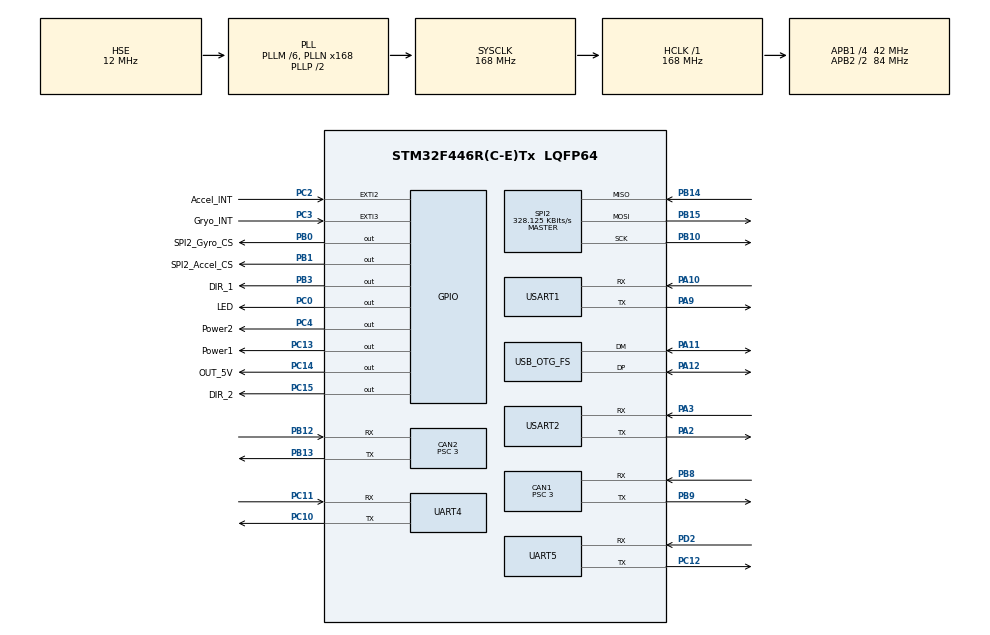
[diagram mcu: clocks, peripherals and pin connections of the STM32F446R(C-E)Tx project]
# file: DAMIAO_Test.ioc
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CAN1.BS1=CAN_BS1_10TQ
CAN1.BS2=CAN_BS2_3TQ
CAN1.CalculateBaudRate=1000000
CAN1.CalculateTimeBit=1000
CAN1.CalculateTimeQuantum=71.42857142857143
CAN1.Prescaler=3
CAN2.BS1=CAN_BS1_10TQ
CAN2.BS2=CAN_BS2_3TQ
CAN2.CalculateBaudRate=1000000
CAN2.CalculateTimeBit=1000
CAN2.CalculateTimeQuantum=71.42857142857143
CAN2.Prescaler=3
Dma.Request0=USART1_RX
Dma.Request1=USART1_TX
Dma.Request2=UART4_RX
Dma.Request3=UART4_TX
Dma.Request4=USART2_RX
Dma.Request5=USART2_TX
Dma.Request6=UART5_RX
Dma.Request7=UART5_TX
Dma.Request8=SPI2_RX
Dma.SPI2_RX.8.Direction=DMA_PERIPH_TO_MEMORY
Dma.SPI2_RX.8.FIFOMode=DMA_FIFOMODE_DISABLE
Dma.SPI2_RX.8.Instance=DMA1_Stream3
Dma.SPI2_RX.8.MemDataAlignment=DMA_MDATAALIGN_BYTE
Dma.SPI2_RX.8.MemInc=DMA_MINC_ENABLE
Dma.SPI2_RX.8.Mode=DMA_NORMAL
Dma.SPI2_RX.8.PeriphDataAlignment=DMA_PDATAALIGN_BYTE
Dma.SPI2_RX.8.PeriphInc=DMA_PINC_DISABLE
Dma.SPI2_RX.8.Priority=DMA_PRIORITY_LOW
Dma.UART4_RX.2.Direction=DMA_PERIPH_TO_MEMORY
Dma.UART4_RX.2.FIFOMode=DMA_FIFOMODE_DISABLE
Dma.UART4_RX.2.Instance=DMA1_Stream2
Dma.UART4_RX.2.MemDataAlignment=DMA_MDATAALIGN_BYTE
Dma.UART4_RX.2.MemInc=DMA_MINC_ENABLE
Dma.UART4_RX.2.Mode=DMA_CIRCULAR
Dma.UART4_RX.2.PeriphDataAlignment=DMA_PDATAALIGN_BYTE
Dma.UART4_RX.2.PeriphInc=DMA_PINC_DISABLE
Dma.UART4_RX.2.Priority=DMA_PRIORITY_LOW
Dma.UART4_TX.3.Direction=DMA_MEMORY_TO_PERIPH
Dma.UART4_TX.3.FIFOMode=DMA_FIFOMODE_DISABLE
Dma.UART4_TX.3.Instance=DMA1_Stream4
Dma.UART4_TX.3.MemDataAlignment=DMA_MDATAALIGN_BYTE
Dma.UART4_TX.3.MemInc=DMA_MINC_ENABLE
Dma.UART4_TX.3.Mode=DMA_CIRCULAR
Dma.UART4_TX.3.PeriphDataAlignment=DMA_PDATAALIGN_BYTE
Dma.UART4_TX.3.PeriphInc=DMA_PINC_DISABLE
Dma.UART4_TX.3.Priority=DMA_PRIORITY_LOW
Dma.UART5_RX.6.Direction=DMA_PERIPH_TO_MEMORY
Dma.UART5_RX.6.FIFOMode=DMA_FIFOMODE_DISABLE
Dma.UART5_RX.6.Instance=DMA1_Stream0
Dma.UART5_RX.6.MemDataAlignment=DMA_MDATAALIGN_BYTE
Dma.UART5_RX.6.MemInc=DMA_MINC_ENABLE
Dma.UART5_RX.6.Mode=DMA_CIRCULAR
Dma.UART5_RX.6.PeriphDataAlignment=DMA_PDATAALIGN_BYTE
Dma.UART5_RX.6.PeriphInc=DMA_PINC_DISABLE
Dma.UART5_RX.6.Priority=DMA_PRIORITY_LOW
Dma.UART5_TX.7.Direction=DMA_MEMORY_TO_PERIPH
Dma.UART5_TX.7.FIFOMode=DMA_FIFOMODE_DISABLE
Dma.UART5_TX.7.Instance=DMA1_Stream7
Dma.UART5_TX.7.MemDataAlignment=DMA_MDATAALIGN_BYTE
Dma.UART5_TX.7.MemInc=DMA_MINC_ENABLE
Dma.UART5_TX.7.Mode=DMA_CIRCULAR
Dma.UART5_TX.7.PeriphDataAlignment=DMA_PDATAALIGN_BYTE
Dma.UART5_TX.7.PeriphInc=DMA_PINC_DISABLE
Dma.UART5_TX.7.Priority=DMA_PRIORITY_LOW
Dma.USART1_RX.0.Direction=DMA_PERIPH_TO_MEMORY
Dma.USART1_RX.0.FIFOMode=DMA_FIFOMODE_DISABLE
Dma.USART1_RX.0.Instance=DMA2_Stream5
Dma.USART1_RX.0.MemDataAlignment=DMA_MDATAALIGN_BYTE
Dma.USART1_RX.0.MemInc=DMA_MINC_ENABLE
Dma.USART1_RX.0.Mode=DMA_NORMAL
Dma.USART1_RX.0.PeriphDataAlignment=DMA_PDATAALIGN_BYTE
Dma.USART1_RX.0.PeriphInc=DMA_PINC_DISABLE
Dma.USART1_RX.0.Priority=DMA_PRIORITY_LOW
Dma.USART1_TX.1.Direction=DMA_MEMORY_TO_PERIPH
Dma.USART1_TX.1.FIFOMode=DMA_FIFOMODE_DISABLE
Dma.USART1_TX.1.Instance=DMA2_Stream7
Dma.USART1_TX.1.MemDataAlignment=DMA_MDATAALIGN_BYTE
Dma.USART1_TX.1.MemInc=DMA_MINC_ENABLE
Dma.USART1_TX.1.Mode=DMA_NORMAL
Dma.USART1_TX.1.PeriphDataAlignment=DMA_PDATAALIGN_BYTE
Dma.USART1_TX.1.PeriphInc=DMA_PINC_DISABLE
Dma.USART1_TX.1.Priority=DMA_PRIORITY_LOW
Dma.USART2_RX.4.Direction=DMA_PERIPH_TO_MEMORY
Dma.USART2_RX.4.FIFOMode=DMA_FIFOMODE_DISABLE
Dma.USART2_RX.4.Instance=DMA1_Stream5
Dma.USART2_RX.4.MemDataAlignment=DMA_MDATAALIGN_BYTE
Dma.USART2_RX.4.MemInc=DMA_MINC_ENABLE
Dma.USART2_RX.4.Mode=DMA_CIRCULAR
Dma.USART2_RX.4.PeriphDataAlignment=DMA_PDATAALIGN_BYTE
Dma.USART2_RX.4.PeriphInc=DMA_PINC_DISABLE
Dma.USART2_RX.4.Priority=DMA_PRIORITY_LOW
Dma.USART2_TX.5.Direction=DMA_MEMORY_TO_PERIPH
Dma.USART2_TX.5.FIFOMode=DMA_FIFOMODE_DISABLE
Dma.USART2_TX.5.Instance=DMA1_Stream6
Dma.USART2_TX.5.MemDataAlignment=DMA_MDATAALIGN_BYTE
Dma.USART2_TX.5.MemInc=DMA_MINC_ENABLE
Dma.USART2_TX.5.Mode=DMA_CIRCULAR
Dma.USART2_TX.5.PeriphDataAlignment=DMA_PDATAALIGN_BYTE
Dma.USART2_TX.5.PeriphInc=DMA_PINC_DISABLE
Dma.USART2_TX.5.Priority=DMA_PRIORITY_LOW
FREERTOS.Tasks01=defaultTask,0,128,StartDefaultTask,Default,NULL,Dynamic,NULL,NULL
Mcu.Family=STM32F4
Mcu.Name=STM32F446R(C-E)Tx
Mcu.Package=LQFP64
NVIC.CAN1_RX0_IRQn=true\:5\:0\:false\:false\:true\:true\:true\:true\:true
NVIC.CAN1_RX1_IRQn=true\:5\:0\:false\:false\:true\:true\:true\:true\:true
NVIC.CAN1_TX_IRQn=true\:5\:0\:false\:false\:true\:true\:true\:true\:true
NVIC.CAN2_RX0_IRQn=true\:5\:0\:false\:false\:true\:true\:true\:true\:true
NVIC.CAN2_RX1_IRQn=true\:5\:0\:false\:false\:true\:true\:true\:true\:true
NVIC.CAN2_TX_IRQn=true\:5\:0\:false\:false\:true\:true\:true\:true\:true
NVIC.DMA1_Stream0_IRQn=true\:5\:0\:false\:false\:true\:true\:false\:true\:true
NVIC.DMA1_Stream2_IRQn=true\:5\:0\:false\:false\:true\:true\:false\:true\:true
NVIC.DMA1_Stream3_IRQn=true\:5\:0\:false\:false\:true\:true\:false\:true\:true
NVIC.DMA1_Stream4_IRQn=true\:5\:0\:false\:false\:true\:true\:false\:true\:true
NVIC.DMA1_Stream5_IRQn=true\:5\:0\:false\:false\:true\:true\:false\:true\:true
NVIC.DMA1_Stream6_IRQn=true\:5\:0\:false\:false\:true\:true\:false\:true\:true
NVIC.DMA1_Stream7_IRQn=true\:5\:0\:false\:false\:true\:true\:false\:true\:true
NVIC.DMA2_Stream5_IRQn=true\:5\:0\:false\:false\:true\:false\:false\:true\:true
NVIC.DMA2_Stream7_IRQn=true\:5\:0\:false\:false\:true\:true\:false\:true\:true
NVIC.OTG_FS_IRQn=true\:5\:0\:false\:false\:true\:true\:true\:true\:true
NVIC.PriorityGroup=NVIC_PRIORITYGROUP_4
NVIC.UART4_IRQn=true\:5\:0\:false\:false\:true\:true\:true\:true\:true
NVIC.UART5_IRQn=true\:5\:0\:false\:false\:true\:true\:true\:true\:true
NVIC.USART1_IRQn=true\:5\:0\:false\:false\:true\:true\:true\:true\:true
NVIC.USART2_IRQn=true\:5\:0\:false\:false\:true\:true\:true\:true\:true
PA10.Mode=Asynchronous
PA10.Signal=USART1_RX
PA11.Mode=Device_Only
PA11.Signal=USB_OTG_FS_DM
PA12.Mode=Device_Only
PA12.Signal=USB_OTG_FS_DP
PA13.Mode=Serial_Wire
PA13.Signal=SYS_JTMS-SWDIO
PA14.Mode=Serial_Wire
PA14.Signal=SYS_JTCK-SWCLK
PA2.Mode=Asynchronous
PA2.Signal=USART2_TX
PA3.Mode=Asynchronous
PA3.Signal=USART2_RX
PA9.Mode=Asynchronous
PA9.Signal=USART1_TX
PB0.GPIO_Label=SPI2_Gyro_CS
PB0.Signal=GPIO_Output
PB1.GPIO_Label=SPI2_Accel_CS
PB1.Signal=GPIO_Output
PB10.Mode=Full_Duplex_Master
PB10.Signal=SPI2_SCK
PB12.Mode=CAN_Activate
PB12.Signal=CAN2_RX
PB13.Mode=CAN_Activate
PB13.Signal=CAN2_TX
PB14.Mode=Full_Duplex_Master
PB14.Signal=SPI2_MISO
PB15.Mode=Full_Duplex_Master
PB15.Signal=SPI2_MOSI
PB3.GPIO_Label=DIR_1
PB3.GPIO_PuPd=GPIO_PULLUP
PB3.Signal=GPIO_Output
PB8.Mode=CAN_Activate
PB8.Signal=CAN1_RX
PB9.Mode=CAN_Activate
PB9.Signal=CAN1_TX
PC0.GPIO_Label=LED
PC0.GPIO_PuPd=GPIO_PULLUP
PC0.PinState=GPIO_PIN_SET
PC0.Signal=GPIO_Output
PC10.Mode=Asynchronous
PC10.Signal=UART4_TX
PC11.Mode=Asynchronous
PC11.Signal=UART4_RX
PC12.Mode=Asynchronous
PC12.Signal=UART5_TX
PC13.GPIO_Label=Power1
PC13.GPIO_PuPd=GPIO_PULLUP
PC13.PinState=GPIO_PIN_SET
PC13.Signal=GPIO_Output
PC14-OSC32_IN.GPIO_Label=OUT_5V
PC14-OSC32_IN.GPIO_PuPd=GPIO_PULLUP
PC14-OSC32_IN.PinState=GPIO_PIN_SET
PC14-OSC32_IN.Signal=GPIO_Output
PC15-OSC32_OUT.GPIO_Label=DIR_2
PC15-OSC32_OUT.GPIO_PuPd=GPIO_PULLUP
PC15-OSC32_OUT.PinState=GPIO_PIN_RESET
PC15-OSC32_OUT.Signal=GPIO_Output
PC2.GPIO_Label=Accel_INT
PC2.Signal=GPXTI2
PC3.GPIO_Label=Gryo_INT
PC3.GPIO_PuPd=GPIO_PULLUP
PC3.Signal=GPXTI3
PC4.GPIO_Label=Power2
PC4.GPIO_PuPd=GPIO_PULLUP
PC4.PinState=GPIO_PIN_SET
PC4.Signal=GPIO_Output
PD2.Mode=Asynchronous
PD2.Signal=UART5_RX
PH0-OSC_IN.Mode=HSE-External-Oscillator
PH0-OSC_IN.Signal=RCC_OSC_IN
PH1-OSC_OUT.Mode=HSE-External-Oscillator
PH1-OSC_OUT.Signal=RCC_OSC_OUT
ProjectManager.HeapSize=0x2000
ProjectManager.StackSize=0x2000
ProjectManager.TargetToolchain=MDK-ARM V5.32
RCC.AHBFreq_Value=168000000
RCC.APB1CLKDivider=RCC_HCLK_DIV4
RCC.APB1Freq_Value=42000000
RCC.APB1TimFreq_Value=84000000
RCC.APB2CLKDivider=RCC_HCLK_DIV2
RCC.APB2Freq_Value=84000000
RCC.APB2TimFreq_Value=168000000
RCC.CortexFreq_Value=168000000
RCC.HCLKFreq_Value=168000000
RCC.HSE_VALUE=12000000
RCC.PLLM=6
RCC.PLLN=168
RCC.PLLQ=7
RCC.PLLSourceVirtual=RCC_PLLSOURCE_HSE
RCC.SYSCLKFreq_VALUE=168000000
RCC.SYSCLKSource=RCC_SYSCLKSOURCE_PLLCLK
RCC.USBFreq_Value=48000000
RCC.VCOOutputFreq_Value=336000000
SPI2.BaudRatePrescaler=SPI_BAUDRATEPRESCALER_128
SPI2.CLKPhase=SPI_PHASE_2EDGE
SPI2.CLKPolarity=SPI_POLARITY_HIGH
SPI2.CalculateBaudRate=328.125 KBits/s
SPI2.Direction=SPI_DIRECTION_2LINES
SPI2.Mode=SPI_MODE_MASTER
SPI2.VirtualType=VM_MASTER
UART4.VirtualMode=Asynchronous
UART5.VirtualMode=Asynchronous
USART1.VirtualMode=VM_ASYNC
USART2.VirtualMode=VM_ASYNC
USB_DEVICE.CLASS_NAME_FS=CDC
USB_DEVICE.VirtualMode-CDC_FS=Cdc
USB_DEVICE.VirtualModeFS=Cdc_FS
USB_OTG_FS.VirtualMode=Device_Only
VP_FREERTOS_VS_CMSIS_V1.Mode=CMSIS_V1
VP_IWDG_VS_IWDG.Mode=IWDG_Activate
VP_USB_DEVICE_VS_USB_DEVICE_CDC_FS.Mode=CDC_FS
board=custom

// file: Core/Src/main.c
/* USER CODE BEGIN Header */
/**
  ******************************************************************************
  * @file           : main.c
  * @brief          : Main program body
  ******************************************************************************
  * @attention
  *
  * Copyright (c) 2024 STMicroelectronics.
  * All rights reserved.
  *
  * This software is licensed under terms that can be found in the LICENSE file
  * in the root directory of this software component.
  * If no LICENSE file comes with this software, it is provided AS-IS.
  *
  ******************************************************************************
  */
/* USER CODE END Header */
#include "main.h"
#include "cmsis_os.h"
#include "can.h"
#include "dma.h"
#include "spi.h"
#include "usart.h"
#include "usb_device.h"
#include "gpio.h"

/* USER CODE BEGIN Includes */
#include "Can_user.h"
#include "remote_control.h"
#include "bsp_dwt.h"
/* USER CODE END Includes */

void SystemClock_Config(void);
void MX_FREERTOS_Init(void);

/* USER CODE BEGIN 0 */
uint8_t Rx[128];
uint8_t Rx_R[128];
uint8_t Rx_1[128];
uint8_t Rx_2[128];
uint8_t Rx_3[128];
uint8_t Rx_4[128];
/* USER CODE END 0 */

int main(void)
{

  /* MCU Configuration--------------------------------------------------------*/

  /* Reset of all peripherals, Initializes the Flash interface and the Systick. */
  HAL_Init();

  /* Configure the system clock */
  SystemClock_Config();

  /* Initialize all configured peripherals */
  MX_GPIO_Init();
  MX_DMA_Init();
  MX_CAN1_Init();
  MX_CAN2_Init();
  MX_USART1_UART_Init();
  MX_USART2_UART_Init();
  MX_UART4_Init();
  MX_UART5_Init();
  MX_SPI2_Init();
  /* USER CODE BEGIN 2 */
	can_1_user_init(&hcan1);//配置can1的过滤器
	can_2_user_init(&hcan2);//配置can2的过滤器
	remote_control_init(); //遥控器初始化
	VS_init(Rx_1, Rx_2, 19);
	VS_init4(Rx_3, Rx_4, 28);
	__HAL_UART_ENABLE_IT(&huart2,UART_IT_IDLE);
	HAL_UART_Receive_DMA(&huart2,(uint8_t *)Rx,sizeof(Rx)); //陀螺仪接收中断

//	__HAL_UART_ENABLE_IT(&huart5,UART_IT_IDLE);
//	HAL_UART_Receive_DMA(&huart5,(uint8_t *)Rx,sizeof(Rx));
	  DWT_Init(168);
      while(BMI088_init())
    {
        ;
    }
  /* USER CODE END 2 */

  /* Call init function for freertos objects (in freertos.c) */
  MX_FREERTOS_Init();

  /* Start scheduler */
  osKernelStart();

  /* We should never get here as control is now taken by the scheduler */
  /* Infinite loop */
  while (1)
  {

  }
}

void SystemClock_Config(void)
{
  RCC_OscInitTypeDef RCC_OscInitStruct = {0};
  RCC_ClkInitTypeDef RCC_ClkInitStruct = {0};

  /** Configure the main internal regulator output voltage
  */
  __HAL_RCC_PWR_CLK_ENABLE();
  __HAL_PWR_VOLTAGESCALING_CONFIG(PWR_REGULATOR_VOLTAGE_SCALE1);

  /** Initializes the RCC Oscillators according to the specified parameters
  * in the RCC_OscInitTypeDef structure.
  */
  RCC_OscInitStruct.OscillatorType = RCC_OSCILLATORTYPE_HSE;
  RCC_OscInitStruct.HSEState = RCC_HSE_ON;
  RCC_OscInitStruct.PLL.PLLState = RCC_PLL_ON;
  RCC_OscInitStruct.PLL.PLLSource = RCC_PLLSOURCE_HSE;
  RCC_OscInitStruct.PLL.PLLM = 6;
  RCC_OscInitStruct.PLL.PLLN = 168;
  RCC_OscInitStruct.PLL.PLLP = RCC_PLLP_DIV2;
  RCC_OscInitStruct.PLL.PLLQ = 7;
  RCC_OscInitStruct.PLL.PLLR = 2;
  if (HAL_RCC_OscConfig(&RCC_OscInitStruct) != HAL_OK)
  {
    Error_Handler();
  }

  /** Initializes the CPU, AHB and APB buses clocks
  */
  RCC_ClkInitStruct.ClockType = RCC_CLOCKTYPE_HCLK|RCC_CLOCKTYPE_SYSCLK
                              |RCC_CLOCKTYPE_PCLK1|RCC_CLOCKTYPE_PCLK2;
  RCC_ClkInitStruct.SYSCLKSource = RCC_SYSCLKSOURCE_PLLCLK;
  RCC_ClkInitStruct.AHBCLKDivider = RCC_SYSCLK_DIV1;
  RCC_ClkInitStruct.APB1CLKDivider = RCC_HCLK_DIV4;
  RCC_ClkInitStruct.APB2CLKDivider = RCC_HCLK_DIV2;

  if (HAL_RCC_ClockConfig(&RCC_ClkInitStruct, FLASH_LATENCY_5) != HAL_OK)
  {
    Error_Handler();
  }
}

void Error_Handler(void)
{
  __disable_irq();
  while (1)
  {
  }
}

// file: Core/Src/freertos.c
/* USER CODE BEGIN Header */
/**
  ******************************************************************************
  * File Name          : freertos.c
  * Description        : Code for freertos applications
  ******************************************************************************
  * @attention
  *
  * Copyright (c) 2024 STMicroelectronics.
  * All rights reserved.
  *
  * This software is licensed under terms that can be found in the LICENSE file
  * in the root directory of this software component.
  * If no LICENSE file comes with this software, it is provided AS-IS.
  *
  ******************************************************************************
  */
/* USER CODE END Header */

#include "FreeRTOS.h"
#include "task.h"
#include "main.h"
#include "cmsis_os.h"

/* USER CODE BEGIN Includes */
#include "Yaw_task.h"
#include "Pitch_task.h"
#include "Ins_task.h"
#include "imu_temp_control_task.h"
/* USER CODE END Includes */

osThreadId defaultTaskHandle;

/* USER CODE BEGIN FunctionPrototypes */
osThreadId yawTaskHandle;
osThreadId pitchTaskHandle;
osThreadId exchangeHandle;
osThreadId insTaskHandle;
osThreadId insHandle;
/* USER CODE END FunctionPrototypes */

void StartDefaultTask(void const * argument);

extern void MX_USB_DEVICE_Init(void);
void MX_FREERTOS_Init(void); /* (MISRA C 2004 rule 8.1) */

/* GetIdleTaskMemory prototype (linked to static allocation support) */
void vApplicationGetIdleTaskMemory( StaticTask_t **ppxIdleTaskTCBBuffer, StackType_t **ppxIdleTaskStackBuffer, uint32_t *pulIdleTaskStackSize );

/* USER CODE BEGIN GET_IDLE_TASK_MEMORY */
static StaticTask_t xIdleTaskTCBBuffer;
static StackType_t xIdleStack[configMINIMAL_STACK_SIZE];

void vApplicationGetIdleTaskMemory( StaticTask_t **ppxIdleTaskTCBBuffer, StackType_t **ppxIdleTaskStackBuffer, uint32_t *pulIdleTaskStackSize )
{
  *ppxIdleTaskTCBBuffer = &xIdleTaskTCBBuffer;
  *ppxIdleTaskStackBuffer = &xIdleStack[0];
  *pulIdleTaskStackSize = configMINIMAL_STACK_SIZE;
  /* place for user code */
}
/* USER CODE END GET_IDLE_TASK_MEMORY */

void MX_FREERTOS_Init(void) {

  /* Create the thread(s) */
  /* definition and creation of defaultTask */
  osThreadDef(defaultTask, StartDefaultTask, osPriorityNormal, 0, 128);
  defaultTaskHandle = osThreadCreate(osThread(defaultTask), NULL);

  /* USER CODE BEGIN RTOS_THREADS */
  /* add threads, ... */
	//YAW控制任务
	osThreadDef(yawtask, Yaw_task, osPriorityNormal, 0, 256);
  yawTaskHandle = osThreadCreate(osThread(yawtask), NULL);

	//Pitch控制任务
	osThreadDef(pitchtask, Pitch_task, osPriorityAboveNormal, 0, 256);
  pitchTaskHandle = osThreadCreate(osThread(pitchtask), NULL);

	//通信任务，更新所有标志位和信息
	osThreadDef(exchangetask, Exchange_task,  osPriorityRealtime, 0, 1024);
  exchangeHandle = osThreadCreate(osThread(exchangetask), NULL);

	//陀螺仪任务
//	osThreadDef(insTask, InsTask, osPriorityRealtime, 0, 1024);
//	insTaskHandle = osThreadCreate(osThread(insTask), NULL);

		osThreadDef(ins, imu_temp_control_task, osPriorityRealtime, 0, 1024);
	insHandle = osThreadCreate(osThread(ins), NULL);
//
  /* USER CODE END RTOS_THREADS */

}

void StartDefaultTask(void const * argument)
{
  /* init code for USB_DEVICE */
  MX_USB_DEVICE_Init();
  for(;;)
  {
    osDelay(1);
  }
}
